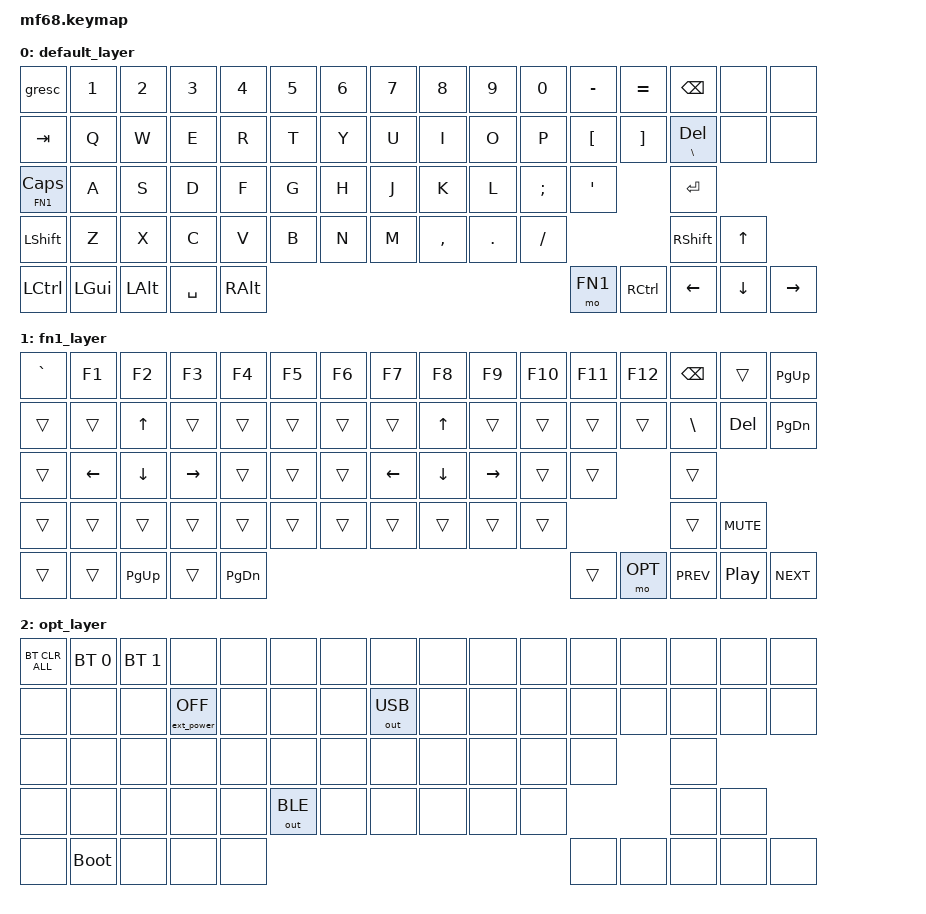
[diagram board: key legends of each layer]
// Copyright (c) 2024 Will Hedges (https://github.com/will-hedges)
// SPDX-License-Identifier: MIT

#include <behaviors.dtsi>
#include <dt-bindings/zmk/bt.h>
#include <dt-bindings/zmk/ext_power.h>
#include <dt-bindings/zmk/keys.h>
#include <dt-bindings/zmk/outputs.h>


#define DEFAULT 0
#define FN1     1
#define OPT     2


/ {
    behaviors {
        gresc: grave_escape {
            compatible = "zmk,behavior-mod-morph";
            #binding-cells = <0>;
            bindings = <&kp ESC>, <&kp GRAVE>;
            mods = <(MOD_LGUI|MOD_LSFT|MOD_RGUI|MOD_RSFT)>;
        };

        tpht: tap_preferred_hold-tap {
            compatible = "zmk,behavior-hold-tap";
            #binding-cells = <2>;
            tapping-term-ms = <200>;
            quick-tap-ms = <0>;
            flavor = "tap-preferred";
            bindings = <&kp>, <&kp>;
        };
    };


    keymap {
        compatible = "zmk,keymap";

        default_layer {
            bindings = <

                &gresc        &kp N1    &kp N2         &kp N3  &kp N4  &kp N5  &kp N6     &kp N7  &kp N8     &kp N9   &kp N0    &kp MINUS  &kp EQUAL &kp BSPC        &none     &none
                &kp TAB       &kp Q     &kp W          &kp E   &kp R   &kp T   &kp Y      &kp U   &kp I      &kp O    &kp P     &kp LBKT   &kp RBKT  &tpht BSLH DEL  &none     &none
                &lt FN1 CAPS  &kp A     &kp S          &kp D   &kp F   &kp G   &kp H      &kp J   &kp K      &kp L    &kp SEMI  &kp SQT              &kp RET
                &kp LSHFT     &kp Z     &kp X          &kp C   &kp V   &kp B   &kp N      &kp M   &kp COMMA  &kp DOT  &kp FSLH                       &kp RSHFT       &kp UP
                &kp LCTRL     &kp LGUI  &kp LALT                               &kp SPACE                              &kp RALT  &mo FN1    &kp RCTRL      &kp LEFT   &kp DOWN  &kp RIGHT
            
            >;
        };
        
        fn1_layer {
            bindings = <
                
                &kp GRAVE  &kp F1    &kp F2    &kp F3     &kp F4  &kp F5  &kp F6  &kp F7    &kp F8    &kp F9     &kp F10    &kp F11  &kp F12  &kp BSPC         &trans   &kp PG_UP 
                &trans     &trans    &kp UP    &trans     &trans  &trans  &trans  &trans    &kp UP    &trans     &trans     &trans   &trans   &kp BSLH         &kp DEL  &kp PG_DN
                &trans     &kp LEFT  &kp DOWN  &kp RIGHT  &trans  &trans  &trans  &kp LEFT  &kp DOWN  &kp RIGHT  &trans     &trans            &trans
                &trans     &trans    &trans    &trans     &trans  &trans  &trans  &trans    &trans    &trans     &trans                       &trans           &kp C_MUTE 
                &trans     &trans    &kp PG_UP                            &trans                                 &kp PG_DN  &trans   &mo OPT       &kp C_PREV  &kp C_PP  &kp C_NEXT
            
            >;
        };

        opt_layer {
            bindings = <
                &bt BT_CLR_ALL  &bt BT_SEL 0  &bt BT_SEL 1  &none              &none  &none         &none  &none         &none  &none  &none  &none  &none  &none       &none  &none  
                &none           &none         &none         &ext_power EP_OFF  &none  &none         &none  &out OUT_USB  &none  &none  &none  &none  &none  &none       &none  &none  
                &none           &none         &none         &none              &none  &none         &none  &none         &none  &none  &none  &none         &none  
                &none           &none         &none         &none              &none  &out OUT_BLE  &none  &none         &none  &none  &none                &none       &none
                &none           &bootloader   &none                                                 &none                                 &none  &none  &none    &none  &none  &none
                
            >;
        };
    };
};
